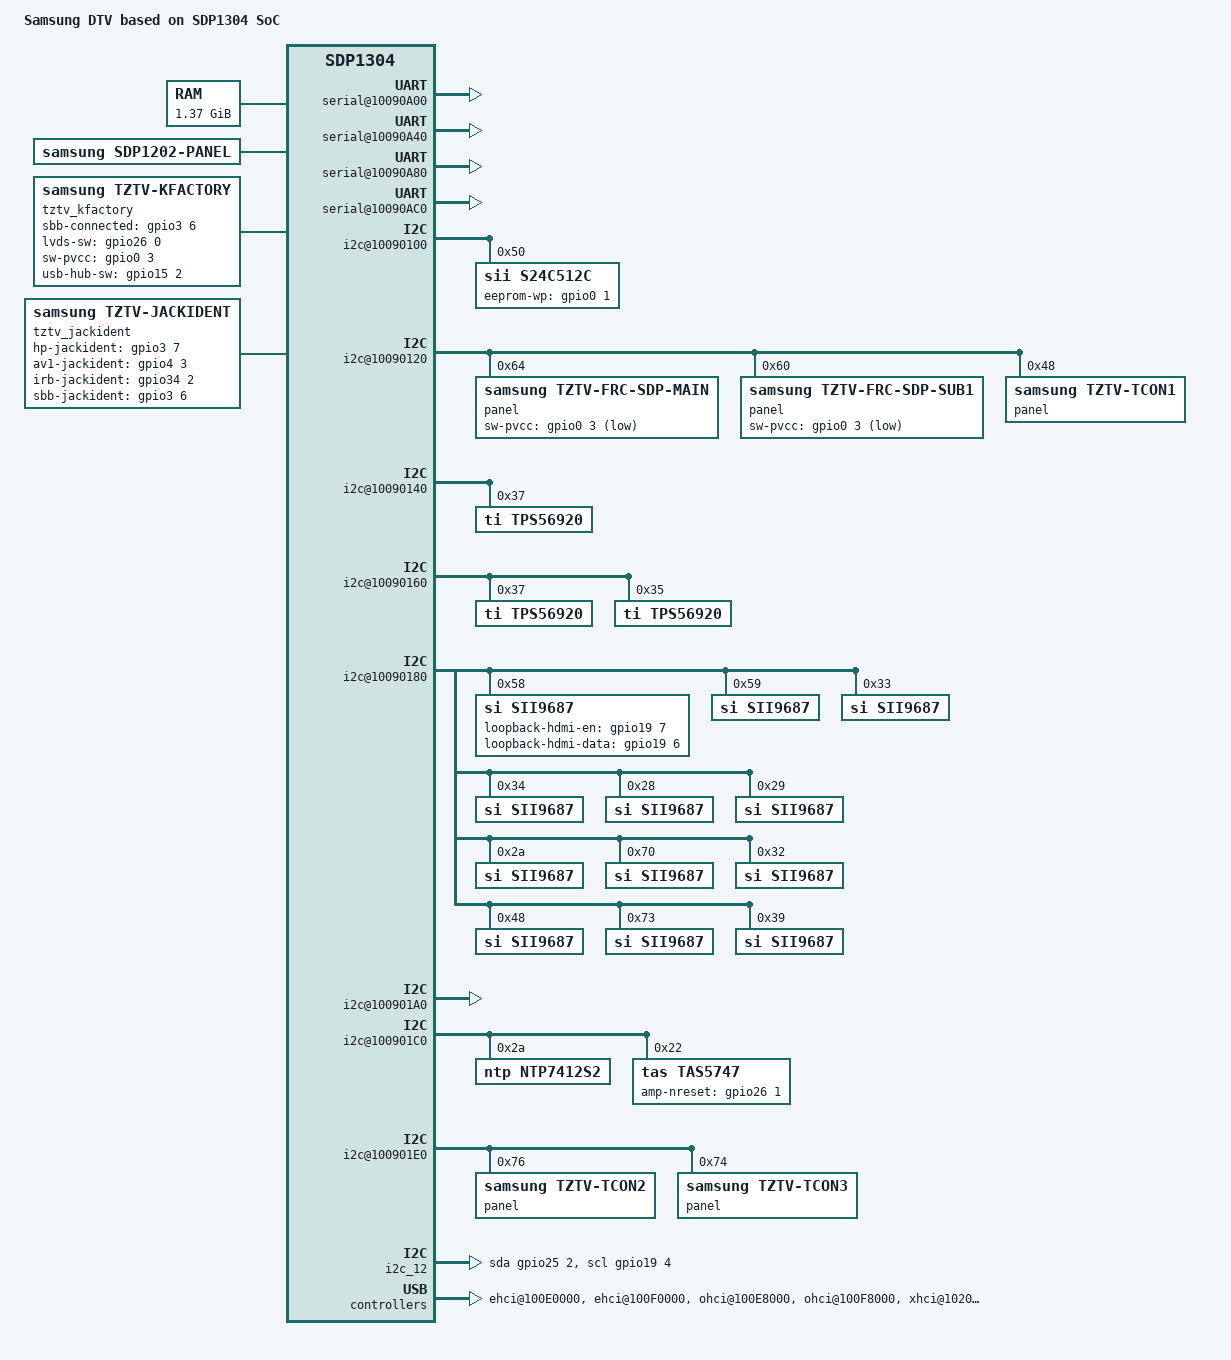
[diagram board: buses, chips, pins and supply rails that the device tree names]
/*
 * Copyright (C) 2013 Samsung Electronics Co.Ltd
 *
 * This program is free software; you can redistribute it and/or modify
 * it under the terms of the GNU General Public License version 2 as
 * published by the Free Software Foundation.
 */

/dts-v1/;
#include "sdp1304.dtsi"

/ {
	model = "Samsung DTV based on SDP1304 SoC";
	compatible = "samsung,dtv", "samsung,sdp1304";

	aliases {
		i2c12 = &i2c_12;
	};

	memory {
		reg =  <0x88000000 0x57C00000>;
	};

	/* BEWARE: DO_NOT_TOUCH___RESERVED_SPACE_50b _must_ be at the end of the
	 * cmdline, ALWAYS! This is the RULE!
	 *
	 * Violators will be shot!
	 * Survivors will be shot again!
	 * I am not kidding.
	 *                          -- roman.pen
	 */
	chosen {
		bootargs = __STR__(console=ttyS0,115200n8 root=/dev/mmcblk0p16 init=/sbin/init SELP_PARAM rootfstype=vdfs rw rootwait earlyprintk no_console_suspend EME_BUFFINFO=0x83F00000,256K vmalloc=550M maintv sdp_sparsemem QUIET_PARAM DO_NOT_TOUCH___RESERVED_SPACE_50b);

		boot-modes = <&shift_s_mode>, <&normal_trace_mode>, <&shift_s_trace_mode>;
	};

	fixed-rate-clocks {
		fin {
			compatible = "samsung,sdp-clock-fin";
			clock-frequency = <24000000>;
		};
	};

	ethernet@100D0000 {
		phy_sel_reg = <0x10088000 0x1 0x0>;		/* select RGMII for eval board*/
	};

	mmc {
		hs200;/* enable HS200 */
		hs200-tuning;
	};

	serial@10090A00 {
		status = "okay";
	};

	serial@10090A40 {
		status = "okay";
	};

	serial@10090A80 {
		compatible = "samsung,sdp1304-uart-micom";
		status = "okay";
	};

	serial@10090AC0 {
		status = "okay";
	}; 

	pinctrl{
		compatible = "samsung,sdp-pinctrl";
		reg = <0x10B00C00 0x24c>,
			<0x18090D6C 0x100>,
			 <0x1a090C00 0x260>,
			 <0x1D590C00 0x210>;
			 
		start-offset = <0x98 0x0 0x16c 0x1a4>;
		nr-banks = <15 20 20 6>;	
		model-sel = <1 1 0 0>;	
	};

	i2c@10090100 {
		status = "okay";
		samsung,i2c-sda-delay = <1>;
		samsung,i2c-max-bus-freq = <400000>;
		samsung,i2c-irq-status-reg = <0x100901F4>;
		samsung,i2c-cpu-affinity = <3>;

                s24c512c@50 {
			compatible = "sii,s24c512c";
			reg = <0x50>;
			samsung,eeprom-wp = <&gpio0 1 0>;
                };
	};

	i2c@10090120 {
		status = "okay";
		samsung,i2c-sda-delay = <1>;
		samsung,i2c-max-bus-freq = <400000>;
		samsung,i2c-irq-status-reg = <0x100901F4>;
		samsung,i2c-cpu-affinity = <3>;

		/* panel C8 */
		panel@64 {
			compatible = "samsung,tztv-frc-sdp-main";
			samsung,sw-pvcc = <&gpio0 3 1>;
			reg = <0x64>;
		};

		/* panel C0 SUB */
		panel@60 {
			compatible = "samsung,tztv-frc-sdp-sub1";
			samsung,sw-pvcc = <&gpio0 3 1>;
			reg = <0x60>;
		};

		/* panel 0x90 */
		panel@48 {
			compatible = "samsung,tztv-tcon1";
			reg = <0x48>;
		};
	};

	i2c@10090140 { 
		status = "okay";
		samsung,i2c-sda-delay = <1>;
		samsung,i2c-max-bus-freq = <400000>;
		samsung,i2c-irq-status-reg = <0x100901F4>;
		samsung,i2c-cpu-affinity = <3>;

		tps56920@37 {
			compatible = "ti,tps56920";
			reg = <0x37>;

			regulator-name = "CPU_PW";
			regulator-min-microvolt = <600000>;
			regulator-max-microvolt = <1870000>;
			regulator-always-on;
			regulator-boot-on;

			default_volt = <1270000>;
		};
	};

	i2c@10090160 {
		status = "okay";
		samsung,i2c-sda-delay = <1>;
		samsung,i2c-max-bus-freq = <400000>;
		samsung,i2c-irq-status-reg = <0x100901F4>;
		samsung,i2c-cpu-affinity = <3>;

		tps56920@37 {
			compatible = "ti,tps56920";
			reg = <0x37>;

			regulator-name = "GPU_PW";
			regulator-min-microvolt = <600000>;
			regulator-max-microvolt = <1870000>;
			regulator-always-on;
			regulator-boot-on;
			
			default_volt = <1100000>;
		};
		
		tps56920@35 {
			compatible = "ti,tps56920";
			reg = <0x35>;

			regulator-name = "MP0_PW";
			regulator-min-microvolt = <600000>;
			regulator-max-microvolt = <1870000>;
			regulator-always-on;
			regulator-boot-on;

			default_volt = <1200000>;
		};

/*
		tps56920@36 {
			compatible = "ti,tps56920";
			reg = <0x36>;

			regulator-name = "MP1_PW";
			regulator-min-microvolt = <600000>;
			regulator-max-microvolt = <1870000>;
			regulator-always-on;
			regulator-boot-on;

			default_volt = <1100000>;
		};
*/
	};

	i2c@10090180 {
		status = "okay";
		samsung,i2c-sda-delay = <1>;
		samsung,i2c-max-bus-freq = <400000>;
		samsung,i2c-irq-status-reg = <0x100901F4>;
		samsung,i2c-cpu-affinity = <3>;

		/* sii9687 0xB0*/
		sii9687@58 {
			compatible = "si,sii9687";
			reg = <0x58>;			
			samsung,loopback-hdmi-en = <&gpio19 7 0>;
			samsung,loopback-hdmi-data = <&gpio19 6 0>;			
		};
		/* sii9687 0xB2*/
		sii9687@59 {
			compatible = "si,sii9687";
			reg = <0x59>;						
		};
				
		/*sii9687 0x66*/
		sii9687@33 {
			compatible = "si,sii9687";
			reg = <0x33>;			
		};
		
		/*sii9687  0x68*/
		sii9687@34 {
			compatible = "si,sii9687";
			reg = <0x34>;			
		};
		/*sii9687  0x50*/
		sii9687@28 {
			compatible = "si,sii9687";
			reg = <0x28>;			
		};
		/*sii9687  0x52*/
		sii9687@29 {
			compatible = "si,sii9687";
			reg = <0x29>;			
		};
		/*sii9687  0x54*/
		sii9687@2A {
			compatible = "si,sii9687";
			reg = <0x2A>;			
		};
		/*sii9687  0xE0*/
		sii9687@70 {
			compatible = "si,sii9687";
			reg = <0x70>;			
		};
		/*sii9687  0x64*/
		sii9687@32 {
			compatible = "si,sii9687";
			reg = <0x32>;			
		};
		/*sii9687  0x90*/
		sii9687@48 {
			compatible = "si,sii9687";
			reg = <0x48>;			
		};
		/*sii9687  0xE6*/
		sii9687@73 {
			compatible = "si,sii9687";
			reg = <0x73>;			
		};
		/*sii9687  0x72*/
		sii9687@39 {
			compatible = "si,sii9687";
			reg = <0x39>;			
		};
	};

	i2c@100901A0 {
		status = "okay";
		samsung,i2c-sda-delay = <1>;
		samsung,i2c-max-bus-freq = <400000>;
		samsung,i2c-irq-status-reg = <0x100901F4>;
		samsung,i2c-cpu-affinity = <3>;

	};

	i2c@100901C0 {
		status = "okay";
		samsung,i2c-sda-delay = <1>;
		samsung,i2c-max-bus-freq = <400000>;
		samsung,i2c-irq-status-reg = <0x100901F4>;
		samsung,i2c-pad-enable = <0x10B00C40 0x8000>;
		samsung,i2c-cpu-affinity = <3>;
		
		ntp7412s2@2A {
			compatible = "ntp,ntp7412s2";              
			reg = <0x2A>;
		};
		
		tas5747@22 {
			compatible = "tas,tas5747";              
			samsung,amp-nreset = <&gpio26 1 0>;              
			reg = <0x22>;
		};
	};

	i2c@100901E0 {
		status = "okay";
		samsung,i2c-sda-delay = <1>;
		samsung,i2c-max-bus-freq = <400000>;
		samsung,i2c-irq-status-reg = <0x100901F4>;
		samsung,i2c-pad-enable = <0x10B00C40 0x10000>;
		samsung,i2c-cpu-affinity = <3>;

		/* panel 0xEC */
		panel@76 {
			compatible = "samsung,tztv-tcon2";
			reg = <0x76>;
		};

		/* panel 0xE8 */
		panel@74 {
			compatible = "samsung,tztv-tcon3";
			reg = <0x74>;
		};
	};

	i2c_12: i2c-dimming {
		status = "okay";
		compatible = "i2c-gpio";
		gpios = <&gpio25 2 0>, <&gpio19 4 0>; //sda, scl
		#address-cells = <1>;
		#size-cells = <0>;
		speed-hz = <4000000>;
	};

	panel: panel {
		compatible = "samsung,sdp1202-panel";

	};

	dummy_panel {
		compatible = "dummy_panel";

		panel = <&panel>;

		display-timings {
			native-mode = <&timing0>;

			timing0: timing-0 {
				 clock-frequency = <0>;
				 hactive = <1920>;
				 vactive = <1080>;
				 hfront-porch = <0>;
				 hback-porch = <0>;
				 hsync-len = <0>;
				 vfront-porch = <0>;
				 vback-porch = <0>;
				 vsync-len = <0>;
			};
		};
	};

	ehci@100E0000 {
		status = "okay";
		samsung,retry-negotiation;
	/*
		samsung,sw-reset = <0x10B00000 0x954 0x1>;
		samsung,ehci-gpr_reg = <0x100FC000 0x00 0xE05A>;
		samsung,ehci-gpr_reg1 = <0x100FC000 0x04 0x5000>;
		samsung,sw-reset-release = <0x10B00000 0x954 0x1>;
	*/
		samsung,usb-enable = <&gpio15 3 0>;
	};

	ehci@100F0000 {
		status = "okay";
		samsung,retry-negotiation;
	/*
		samsung,sw-reset = <0x10B00000 0x954 0x2>;
		samsung,ehci-gpr_reg = <0x100FC000 0x14 0xE05A>;
		samsung,ehci-gpr_reg1 = <0x100FC000 0x18 0x5000>;
		samsung,sw-reset-release = <0x10B00000 0x954 0x2>;
	*/
		samsung,usb-enable = <&gpio15 3 0>;
	};

	ohci@100E8000 {
		status = "okay";
		samsung,usb-enable = <&gpio15 3 0>;
	};

	ohci@100F8000 {
		status = "okay";
		samsung,usb-enable = <&gpio15 3 0>;
	};

	sdp_mfc@18680000 {
		samsung,bus-mode = "2bus-a";
		samsung,fw-name = "sdp_mfc/ucode-mfc.fw";
		samsung,fw-size = <0x60000>;
		/*
		 * FIXME
		 * maybe these addresses are configurable.
		 * if so, please remove them.
		 */
 		samsung,dram-base-a = <0x20000000>;
		samsung,dram-base-b = <0x30000000>;
	};

sdp_hen@19a00000 {
		samsung,fw-name = "sdp_hen/ucode-hen.fw";
		samsung,fw-size = <0x100000>;
		samsung,dram-base-a = <0x24100000>;
		samsung,dram-base-b = <0x31600000>;
		samsung,src-base = <0x31880000>;
};	

        sdp_jpeg@18700000 {
                samsung,sdp-jpeg-src = <0x20200000 0x00200000>;
                samsung,sdp-jpeg-scl = <0x20400000 0x02000000>;
                samsung,sdp-jpeg-dst = <0x22400000 0x00880000>;
                samsung,sdp-jpeg-mjpeg-y = <0x33D00000 0x340F5000 0x344EA000 0x348DF000 0x367C0000>;
                samsung,sdp-jpeg-mjpeg-c = <0x24C80000 0x25469000 0x25C52000 0x2643B000 0x2709EB85>;
        };

	xhci@10200000 {
		status = "okay";
	};

	thermal@10B00C6C {
		status = "okay";

		sensor_id = <0>;

		start_zero_throttle	= <40>;
		stop_zero_throttle	= <45>;
		stop_1st_throttle	= <102>;
		start_1st_throttle	= <110>;
		stop_2nd_throttle	= <112>;
		start_2nd_throttle	= <118>;
		stop_3rd_throttle	= <120>;
		start_3rd_throttle	= <125>;
		start_3rd_hotplug	= <130>;

		cpu_limit_1st_throttle	= <1000000>;
		cpu_limit_2nd_throttle	= <600000>;
		cpu_limit_3rd_throttle	= <100000>;

		gpu_limit_1st_throttle	= <200000>;
		gpu_limit_2nd_throttle	= <200000>;
		gpu_limit_3rd_throttle	= <50000>;

		log_file_path = "/mtd_rwarea/ThermalThrottle.txt";
	};
	
	dwc3@0x10100000 {
		status = "okay";
		dwc3_mode = "device";
	};
	
	dvb {
		compatible = "samsung,sdp-dvb";
	};

	tztv_tuner {
		compatible = "samsung,tztv-tuner";
	};
	
	tztv_kfactory {
		compatible = "samsung,tztv-kfactory";
		samsung,sbb-connected = <&gpio3 6 0>;
		samsung,lvds-sw = <&gpio26 0 0>;
		samsung,sw-pvcc = <&gpio0 3 0>;
		samsung,usb-hub-sw = <&gpio15 2 0>;
	};

	tztv_jackident {
		compatible = "samsung,tztv-jackident";
		samsung,hp-jackident = <&gpio3 7 0>;
		samsung,av1-jackident = <&gpio4 3 0>;
		samsung,irb-jackident = <&gpio34 2 0>;
		samsung,sbb-jackident = <&gpio3 6 0>;
	};
	
	tztv_sbb-interface {
		samsung,sbb-detect = <&gpio3 6 0>;
	};
	
	tztv_ksocket {
		compatible = "samsung,ksocket";
	};
};
